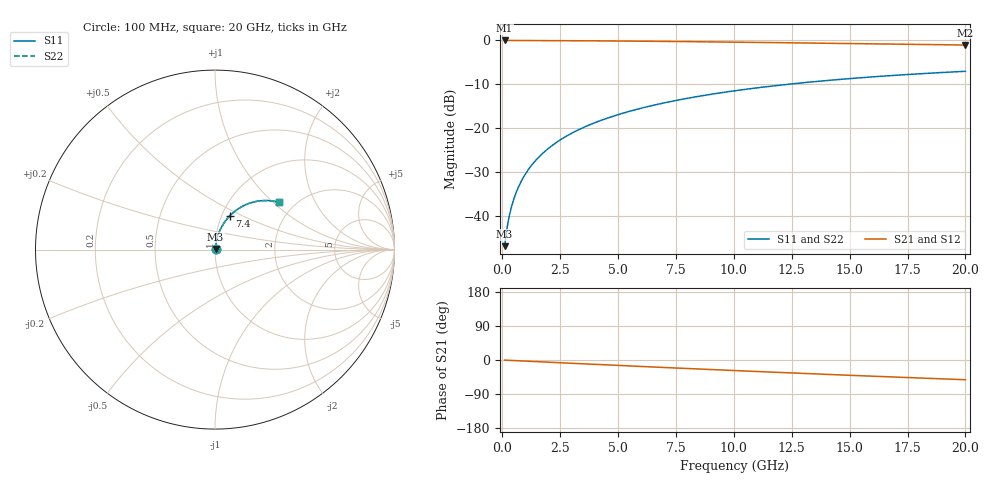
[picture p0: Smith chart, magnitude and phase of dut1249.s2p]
! Touchstone file exported from HFSS 2026.1.0
!  File:  C:/ffzhzh/LocalFiles/Ansys_Project_Files/temp_train_TMRDL_1249_1783163799_55132.aedt
!  Generated:  07:18:06 PM Jul  4, 2026
!  Design:  TMRDL
!  Project:  temp_train_TMRDL_1249_1783163799_55132
! Variables:
!  h_bsmrdl = 2um
!  h_ox = 20um
!  h_rdl = 5um
!  h_sub = 80um
!  h_tmrdl = 4.51um
!  h_tsv = 80um
!  h_via = 3um
!  l_bsmrdl = 300um
!  l_sub = 1199.49um
!  l_tmrdl = 799.49um
!  m_sub = 200um
!  pitch = 48.53um
!  r_tsv = 6um
!  s_tmrdl = 10um
!  w_bsmrdl = 18um
!  w_sub = 500um
!  w_tmrdl = 21.21um
!  x_tsv_center1 = 810.095um
!  x_tsv_center2 = 1128.095um
!  x_tsv_center3 = 1948.795um
!  x_tsv_center4 = 2266.795um
!  x_tsv_center5 = 3087.495um
!  x_tsv_center6 = 3405.495um
# GHz S MA R 50.000000
! Terminal data exported
! Port[1] = TM_RDL1_1_T1
! Port[2] = TM_RDL1_1_T2
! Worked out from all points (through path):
!   200 points, 100 MHz to 20 GHz, reference 50 ohm
!   highest |S21| = -0.03 dB at 100 MHz (marker M1); lowest = -1.1 dB at 20 GHz (marker M2)
!   group delay of S21, straight-line fit = 7.23 ps
!   lowest |S11| = -47.0 dB at 100 MHz (marker M3), VSWR 1.01, Z = 50.3 + j0.32 ohm
!   |S11| at or under -10 dB: start of sweep to 12.41 GHz
!   |S22| runs from -47.0 to -7.1 dB; largest |S21 - S12| = 3.1e-15
!   S11 on the Smith chart (normalised r, x): 100 MHz: 1.01, +0.01; 7.4 GHz: 1.09, +0.42; 20 GHz: 1.66, +1.09
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0.1  0.004467 45.4  0.9969 -0.3  0.9969 -0.3  0.004467 45.4
! Gamma 0 0 0 0
! Port Impedance 50 0 50 0
0.2  0.007082 61.6  0.9967 -0.6  0.9967 -0.6  0.007082 61.6
0.3  0.009858 68.5  0.9965 -0.9  0.9965 -0.9  0.009858 68.5
0.4  0.01266 72.3  0.9963 -1.2  0.9963 -1.2  0.01266 72.3
0.5  0.01549 74.7  0.9962 -1.5  0.9962 -1.5  0.01549 74.7
0.6  0.01833 76.4  0.9961 -1.8  0.9961 -1.8  0.01833 76.4
0.8  0.02406 78.4  0.9958 -2.3  0.9958 -2.3  0.02406 78.4
1.1  0.03271 79.7  0.9954 -3.2  0.9954 -3.2  0.03271 79.7
1.5  0.04426 80.1  0.9948 -4.4  0.9948 -4.4  0.04426 80.1
1.8  0.0529 79.9  0.9942 -5.2  0.9942 -5.2  0.0529 79.9
2.1  0.06151 79.5  0.9935 -6.1  0.9935 -6.1  0.06151 79.5
2.7  0.07858 78.4  0.9918 -7.8  0.9918 -7.8  0.07859 78.4
3.5  0.101 76.6  0.9891 -10.1  0.9891 -10.1  0.101 76.6
4.2  0.1202 74.8  0.9863 -12.1  0.9863 -12.1  0.1202 74.8
5  0.1418 72.8  0.9827 -14.3  0.9827 -14.3  0.1418 72.8
6.8  0.1884 68.1  0.9735 -19.3  0.9735 -19.3  0.1884 68.1
7.4  0.2034 66.6  0.9702 -20.9  0.9702 -20.9  0.2034 66.6
8.7  0.2348 63.3  0.9624 -24.4  0.9624 -24.4  0.2348 63.3
10.1  0.267 59.7  0.9533 -28.1  0.9533 -28.1  0.267 59.7
13.4  0.3359 51.6  0.9305 -36.5  0.9305 -36.5  0.336 51.6
16.7  0.3946 43.9  0.9068 -44.4  0.9068 -44.4  0.3946 43.8
20  0.443 36.4  0.8842 -52.0  0.8842 -52.0  0.4431 36.4
